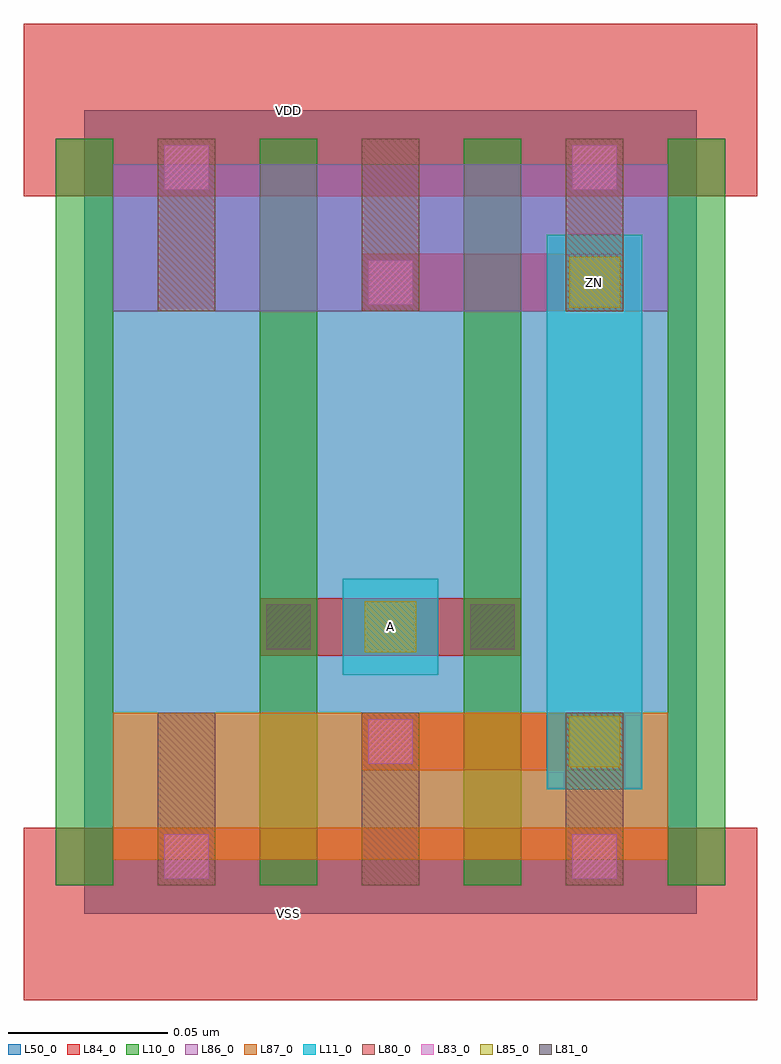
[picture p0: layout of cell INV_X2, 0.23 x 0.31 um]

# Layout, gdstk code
import gdstk
lib = gdstk.Library(unit=1e-6, precision=1e-09)
def R(c, l, rs):  # rectangles x0, y0, x1, y1
    for r in rs: c.add(gdstk.rectangle(r[:2], r[2:], *l))
def A(c, l, x, y, w, h, nx, ny, dx, dy):  # array of equal rectangles
    R(c, l, [(x+i*dx, y+j*dy, x+i*dx+w, y+j*dy+h) for i in range(nx) for j in range(ny)])
L10_0 = (10, 0)
L11_0 = (11, 0)
L50_0 = (50, 0)
L80_0 = (80, 0)
L81_0 = (81, 0)
L83_0 = (83, 0)
L84_0 = (84, 0)
L85_0 = (85, 0)
L86_0 = (86, 0)
L87_0 = (87, 0)

inv_x2 = lib.new_cell('INV_X2')
A(inv_x2, L10_0, -0.009, 0.009, 0.018, 0.234, 3, 1, 0.064, 0)
R(inv_x2, L10_0, [(0.119,0.009,0.137,0.243), (0.183,0.009,0.201,0.243)])
R(inv_x2, L11_0, [(0.145,0.039,0.175,0.213), (0.081,0.075,0.111,0.105)])
R(inv_x2, L50_0, [(0,0,0.192,0.252)])
A(inv_x2, L80_0, 0.023, 0.009, 0.018, 0.054, 3, 2, 0.064, 0.18)
R(inv_x2, L81_0, [(0.057,0.083,0.071,0.097), (0.121,0.083,0.135,0.097)])
R(inv_x2, L83_0, [(0.025,0.011,0.039,0.025), (0.153,0.011,0.167,0.025), (0.089,0.047,0.103,0.061), (0.089,0.191,0.103,0.205), (0.025,0.227,0.039,0.241), (0.153,0.227,0.167,0.241)])
R(inv_x2, L84_0, [(-0.019,-0.027,0.147,0.027), (0.045,-0.027,0.211,0.027), (0.087,0.045,0.169,0.063), (0.087,0.045,0.105,0.063), (0.151,0.045,0.169,0.063), (0.055,0.081,0.105,0.099), (0.087,0.081,0.137,0.099), (0.087,0.189,0.169,0.207), (0.087,0.189,0.105,0.207), (0.151,0.189,0.169,0.207), (-0.019,0.225,0.147,0.279), (0.045,0.225,0.211,0.279)])
R(inv_x2, L85_0, [(0.152,0.046,0.168,0.062), (0.088,0.082,0.104,0.098), (0.152,0.19,0.168,0.206)])
R(inv_x2, L86_0, [(0.009,0.189,0.119,0.235), (0.073,0.189,0.183,0.235)])
R(inv_x2, L87_0, [(0.009,0.017,0.119,0.063), (0.073,0.017,0.183,0.063)])
inv_x2.add(gdstk.Label('VSS', (0.064,0), layer=88, texttype=0))
inv_x2.add(gdstk.Label('VDD', (0.064,0.252), layer=88, texttype=0))
inv_x2.add(gdstk.Label('A', (0.096,0.09), layer=31, texttype=0))
inv_x2.add(gdstk.Label('ZN', (0.16,0.198), layer=31, texttype=0))

lib.write_gds('INV_X2.gds')
